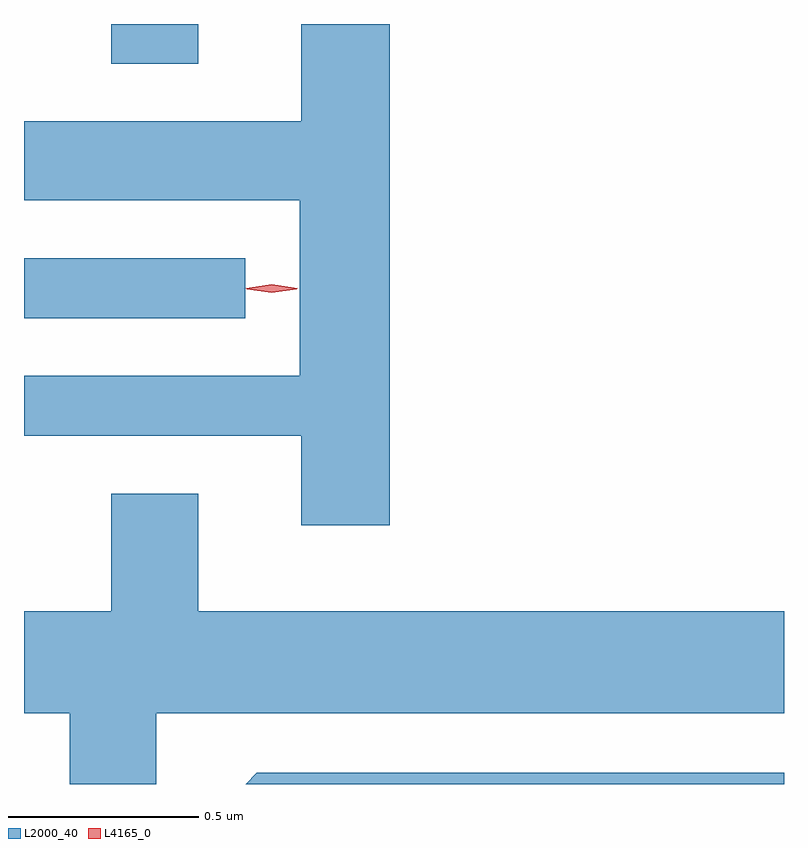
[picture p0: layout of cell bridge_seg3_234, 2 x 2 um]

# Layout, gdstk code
import gdstk
lib = gdstk.Library(unit=1e-6, precision=1e-09)
def R(c, l, rs):  # rectangles x0, y0, x1, y1
    for r in rs: c.add(gdstk.rectangle(r[:2], r[2:], *l))
def P(c, l, *ps):  # polygons
    for p in ps: c.add(gdstk.Polygon(p, *l))
L2000_40 = (2000, 40)
L4165_0 = (4165, 0)

bridge_seg3_234 = lib.new_cell('bridge_seg3_234')
R(bridge_seg3_234, L2000_40, [(978.581,1131.496,979.163,1131.654), (978.811,1132.166,979.039,1132.27)])
P(bridge_seg3_234, L2000_40, [(979.544,1132.27),(979.311,1132.27),(979.311,1132.014),(978.581,1132.014),(978.581,1131.806),(979.306,1131.806),(979.306,1131.344),(978.581,1131.344),(978.581,1131.186),(979.311,1131.186),(979.311,1130.951),(979.544,1130.951)],
  [(978.929,1130.456),(980.581,1130.456),(980.581,1130.724),(979.039,1130.724),(979.039,1131.034),(978.811,1131.034),(978.811,1130.724),(978.581,1130.724),(978.581,1130.456),(978.701,1130.456),(978.701,1130.27),(978.929,1130.27)],
  [(980.581,1130.299),(979.194,1130.299),(979.165,1130.27),(980.581,1130.27)])
P(bridge_seg3_234, L4165_0, [(979.233,1131.565),(979.164,1131.574),(979.163,1131.575),(979.164,1131.575),(979.233,1131.585),(979.302,1131.575),(979.302,1131.575),(979.302,1131.574)],
  [(979.233,1131.563),(979.167,1131.572),(979.167,1131.573),(979.167,1131.573),(979.233,1131.583),(979.299,1131.573),(979.299,1131.573),(979.299,1131.572)])

lib.write_gds('bridge_seg3_234.gds')
